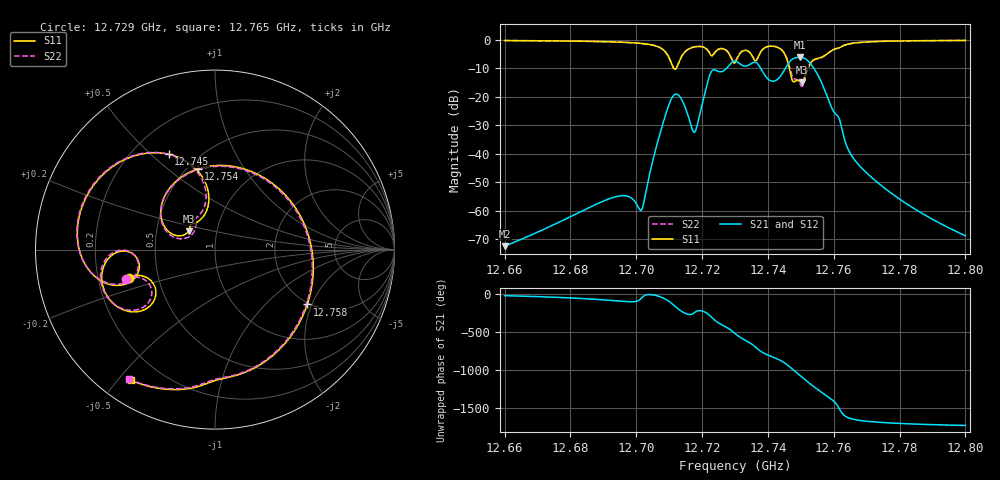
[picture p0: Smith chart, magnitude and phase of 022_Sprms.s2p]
! TOUCHSTONE file generated by CST MICROWAVE STUDIO
! Date and time: Wed Jul 31 11:43:14 2024
! Project name: WaveGuide_BPF-Ver4.1_U-shape_Ku_T3_C4_CWA_2.cst
! Parameters = {cavity_h=16; cavity_l0=10; cavity_l1=15.2249; cavity_l2=16.8077; cavity_l3=17.1191; cavity_l4=17.2475; cavity_l5=17.105; cavity_l6=17.5542; cavity_r=2.5; cavity_screw_l=0.5; cavity_screw_r=1.5; cavity_w=8; iris_h00=0; iris_h01=8.8126; iris_h112=0; iris_h12=5.6087; iris_h211=3.6646; i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
! Header version: 2018
! Port assignment regex: !\s*Touchstone port\s*([0-9]+)\s*=\s*(CST MWS port|CST DS port)\s*([0-9]+|Zmin|Zmax)\s*\(\"(.*)\"\)(\s*mode\s*([0-9]+))?.*
! Touchstone port assignment:
! Touchstone port 1 = CST MWS port 1 ("")
! Touchstone port 2 = CST MWS port 2 ("")
# GHz S RI R 50
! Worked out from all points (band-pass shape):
!   5001 points, 12.66 GHz to 12.8 GHz, reference 50 ohm
!   highest |S21| = -6.08 dB at 12.75 GHz (marker M1); lowest = -72.5 dB at 12.66 GHz (marker M2)
!   |S21| within 3 dB of the highest: 12.7281 GHz to 12.73258 GHz (4.481 MHz wide, 0.0352 % of centre); 12.74574 GHz to 12.75343 GHz (7.685 MHz wide, 0.0603 % of centre) (the widest 2 of 3)
!   lowest |S11| = -14.9 dB at 12.75 GHz (marker M3), VSWR 1.44, Z = 36.5 + j7.71 ohm
!   |S11| at or under -10 dB: 12.71141 GHz to 12.71211 GHz (705.4 kHz wide, 0.00555 % of centre); 12.74652 GHz to 12.75208 GHz (5.555 MHz wide, 0.0436 % of centre)
!   |S22| runs from -16.3 to -0.2 dB; largest |S21 - S12| = 1e-09
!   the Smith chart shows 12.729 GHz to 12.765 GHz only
!   S11 on the Smith chart (normalised r, x): 12.729 GHz: 0.34, -0.14; 12.745 GHz: 0.35, +0.57; 12.754 GHz: 0.56, +0.65; 12.758 GHz: 1.95, -1.86; 12.765 GHz: 0.09, -0.54
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12.66  0.3974 0.894  0.000209 -0.000111  0.000209 -0.000111  0.4056 0.8903
12.68335  0.8245 0.4775  0.000411 -0.000881  0.000411 -0.000881  0.8306 0.4663
12.7015  0.6596 -0.5694  0.000438 -0.000916  0.000438 -0.000916  0.6472 -0.583
12.70668  0.0212 -0.7597  0.0145 -0.00981  0.0145 -0.00981  0.00255 -0.7596
12.70987  -0.446 -0.2272  -0.0125 -0.0703  -0.0125 -0.0703  -0.452 -0.2135
12.71211  0.0214 0.3151  -0.1122 -0.00353  -0.1122 -0.00353  0.0304 0.3176
12.71477  0.5853 -0.1896  -0.0154 0.0658  -0.0154 0.0658  0.5849 -0.1983
12.71874  0.1068 -0.7618  -0.0253 0.0257  -0.0253 0.0257  0.1037 -0.7657
12.72275  -0.2617 -0.4651  0.1577 0.225  0.1577 0.225  -0.2731 -0.4832
12.72866  -0.4814 -0.1556  -0.1672 -0.3458  -0.1672 -0.3458  -0.4936 -0.1651
12.73  -0.3302 -0.2252  -0.408 -0.1242  -0.408 -0.1242  -0.3528 -0.2287
12.7365  -0.4234 -0.113  0.3961 0.0605  0.3961 0.0605  -0.4296 -0.1087
12.74067  -0.7621 0.1537  -0.0217 -0.1929  -0.0217 -0.1929  -0.7651 0.156
12.7449  -0.259 0.5313  -0.2894 0.013  -0.2894 0.013  -0.2791 0.5358
12.74968  -0.139 0.1252  0.4899 0.0826  0.4899 0.0826  -0.1075 0.1338
12.75022  -0.1473 0.1022  0.4881 -0.0794  0.4881 -0.0794  -0.1166 0.1002
12.75335  -0.2597 0.3332  -0.1695 -0.3139  -0.1695 -0.3139  -0.268 0.3166
12.7543  -0.0924 0.4507  -0.2539 -0.1518  -0.2539 -0.1518  -0.1048 0.4421
12.75845  0.5144 -0.3053  0.00905 0.0862  0.00905 0.0862  0.5074 -0.3098
12.76522  -0.4675 -0.7291  -0.00924 0.0028  -0.00924 0.0028  -0.4792 -0.722
12.77668  -0.9335 -0.2006  -0.000681 0.00209  -0.000681 0.00209  -0.9361 -0.1898
12.8  -0.9283 0.3206  9.71e-05 0.000348  9.71e-05 0.000348  -0.9258 0.3282
